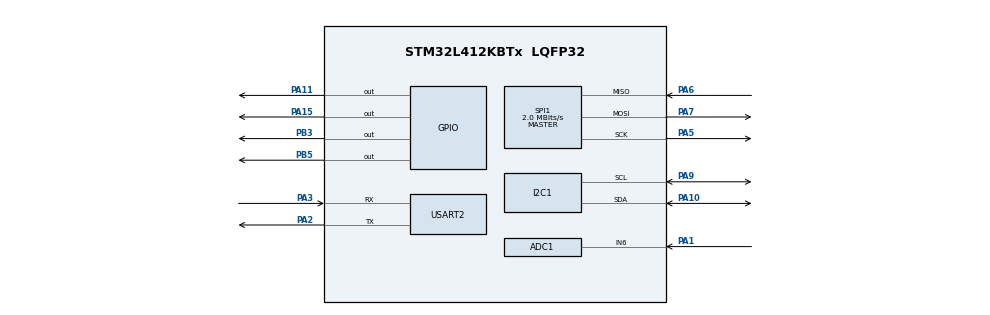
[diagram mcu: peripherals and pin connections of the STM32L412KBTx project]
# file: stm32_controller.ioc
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ADC1.Channel-1\#ChannelRegularConversion=ADC_CHANNEL_6
ADC1.NbrOfConversionFlag=1
ADC1.OffsetNumber-1\#ChannelRegularConversion=ADC_OFFSET_NONE
ADC1.Rank-1\#ChannelRegularConversion=1
ADC1.SamplingTime-1\#ChannelRegularConversion=ADC_SAMPLETIME_2CYCLES_5
ADC1.master=1
Mcu.Family=STM32L4
Mcu.Name=STM32L412KBTx
Mcu.Package=LQFP32
NVIC.PriorityGroup=NVIC_PRIORITYGROUP_4
PA1.Signal=ADCx_IN6
PA10.Mode=I2C
PA10.Signal=I2C1_SDA
PA11.GPIO_PuPd=GPIO_PULLUP
PA11.Signal=GPIO_Output
PA13\ (JTMS/SWDIO).Mode=Serial_Wire
PA13\ (JTMS/SWDIO).Signal=SYS_JTMS-SWDIO
PA14\ (JTCK/SWCLK).Mode=Serial_Wire
PA14\ (JTCK/SWCLK).Signal=SYS_JTCK-SWCLK
PA15\ (JTDI).GPIO_PuPd=GPIO_PULLUP
PA15\ (JTDI).Signal=GPIO_Output
PA2.Mode=Asynchronous
PA2.Signal=USART2_TX
PA3.Mode=Asynchronous
PA3.Signal=USART2_RX
PA5.Mode=Full_Duplex_Master
PA5.Signal=SPI1_SCK
PA6.Mode=Full_Duplex_Master
PA6.Signal=SPI1_MISO
PA7.Mode=Full_Duplex_Master
PA7.Signal=SPI1_MOSI
PA9.Mode=I2C
PA9.Signal=I2C1_SCL
PB3\ (JTDO/TRACESWO).GPIO_PuPd=GPIO_PULLUP
PB3\ (JTDO/TRACESWO).Signal=GPIO_Output
PB5.GPIO_PuPd=GPIO_PULLUP
PB5.Signal=GPIO_Output
ProjectManager.HeapSize=0x200
ProjectManager.StackSize=0x400
ProjectManager.TargetToolchain=STM32CubeIDE
RCC.ADCFreq_Value=4000000
RCC.HSE_VALUE=8000000
RCC.HSI48_VALUE=48000000
RCC.HSI_VALUE=16000000
RCC.LSE_VALUE=32768
RCC.MSI_VALUE=4000000
RCC.USBFreq_Value=4000000
RCC.VCOOutputFreq_Value=32000000
SH.ADCx_IN6.0=ADC1_IN6,IN6-Single-Ended
SPI1.CalculateBaudRate=2.0 MBits/s
SPI1.Direction=SPI_DIRECTION_2LINES
SPI1.Mode=SPI_MODE_MASTER
SPI1.VirtualType=VM_MASTER
USART2.VirtualMode-Asynchronous=VM_ASYNC
board=custom

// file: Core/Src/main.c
/* USER CODE BEGIN Header */
/**
  ******************************************************************************
  * @file           : main.c
  * @brief          : Main program body
  ******************************************************************************
  * @attention
  *
  * Copyright (c) 2023 STMicroelectronics.
  * All rights reserved.
  *
  * This software is licensed under terms that can be found in the LICENSE file
  * in the root directory of this software component.
  * If no LICENSE file comes with this software, it is provided AS-IS.
  *
  ******************************************************************************
  */
/* USER CODE END Header */
#include "main.h"

/* USER CODE BEGIN Includes */
#include "functions.h"
#include "NRF24.h"
/* USER CODE END Includes */

ADC_HandleTypeDef hadc1;

I2C_HandleTypeDef hi2c1;

SPI_HandleTypeDef hspi1;

UART_HandleTypeDef huart2;

/* USER CODE BEGIN PV */
uint8_t LED_Buf[2];
uint8_t LED_ADDRESS = (LED_DEVICE<<1) + 0x80;
/* USER CODE END PV */

void SystemClock_Config(void);
static void MX_GPIO_Init(void);
static void MX_SPI1_Init(void);
static void MX_ADC1_Init(void);
static void MX_I2C1_Init(void);
static void MX_USART2_UART_Init(void);

int main(void)
{

  /* MCU Configuration--------------------------------------------------------*/

  /* Reset of all peripherals, Initializes the Flash interface and the Systick. */
  HAL_Init();

  /* Configure the system clock */
  SystemClock_Config();

  /* Initialize all configured peripherals */
  MX_GPIO_Init();
  MX_SPI1_Init();
  MX_ADC1_Init();
  MX_I2C1_Init();
  MX_USART2_UART_Init();
  /* USER CODE BEGIN 2 */
  //GPIO related variables
    uint16_t B_Pin = 3;
    uint16_t Y_Pin = 1;
    uint16_t Select_Pin = 4;
    uint16_t Start_Pin = 4;
    uint16_t Cross_Up_Pin = 0;
    uint16_t Cross_Down_Pin = 1;
    uint16_t Cross_Left_Pin = 2;
    uint16_t Cross_Right_Pin = 3;
    uint16_t A_Pin = 2;
    uint16_t X_Pin = 0;
    uint16_t L_Pin = 5;
    uint16_t R_Pin = 5;

    uint16_t CE_Pin = 11;
    uint8_t Power_Check_Pin = 4;

    //Button data buffer
    uint8_t Button_Data[2] = {0, 0};

    //Battery related variables
    uint16_t Battery_Raw = 0;
    float Battery_Temp = 0;
    uint8_t i = 0;

    LED_Buf[1] = LED_ENABLE;
    uint8_t GPIOE_ADDRESS_1 = 0b01000001;
    uint8_t GPIOE_ADDRESS_2 = 0b01000011;
    uint8_t GPIO_Data_2 = 0;

    //LED driver Initialization
    LED_Init();

    //Battery saving variables
    uint8_t Eco_const = 1000;
    uint8_t Eco_var = 0;

    //NRF24 Initialization
    uint64_t TxpipeAddrs = 0x11223344AA;

    NRF24_begin(hspi1);
	NRF24_stopListening();
	NRF24_openWritingPipe(TxpipeAddrs);
	NRF24_setAutoAck(true);
	NRF24_setChannel(52);
	NRF24_setPayloadSize(32);

	NRF24_enableDynamicPayloads();
	NRF24_enableAckPayload();

  /* USER CODE END 2 */

  /* Infinite loop */
  /* USER CODE BEGIN WHILE */
  while (1)
  {
	  if(Eco_var == 0){
	  		  //Retrieving battery info
	  		  HAL_ADC_Start(&hadc1);
	  		  HAL_ADC_PollForConversion(&hadc1, HAL_MAX_DELAY);
	  		  Battery_Raw = HAL_ADC_GetValue(&hadc1);
	  		  //Powering the LEDs accordingly
	  		  Battery_Temp = (int)( ( (float)(Battery_Raw)/4096*3.3 - 1.8 )*48 );
	  	  	  for(i=1; i<=12; i++){
	  		  	  if (i < Battery_Temp){
	  			  	  LED_Write(i+4,1);
	  		  	  }
	  		  	  else{
	  			  	  LED_Write(i+4,0);
	  		  	  }
	  	  	  }
	  	  }

	  	  //Getting Button info
	  	HAL_I2C_Master_Receive(&hi2c1, GPIOE_ADDRESS_1, &Button_Data[0] , 1, HAL_MAX_DELAY);
	  	HAL_I2C_Master_Receive(&hi2c1, GPIOE_ADDRESS_2, &Button_Data[1], 1, HAL_MAX_DELAY);

	  	//Wireless transmission
	  	NRF24_write(&Button_Data, 2);

	  	Eco_var = (Eco_var + 1) % Eco_const;

    /* USER CODE END WHILE */

  }
}

void SystemClock_Config(void)
{
  RCC_OscInitTypeDef RCC_OscInitStruct = {0};
  RCC_ClkInitTypeDef RCC_ClkInitStruct = {0};

  /** Configure the main internal regulator output voltage
  */
  if (HAL_PWREx_ControlVoltageScaling(PWR_REGULATOR_VOLTAGE_SCALE1) != HAL_OK)
  {
    Error_Handler();
  }

  /** Initializes the RCC Oscillators according to the specified parameters
  * in the RCC_OscInitTypeDef structure.
  */
  RCC_OscInitStruct.OscillatorType = RCC_OSCILLATORTYPE_MSI;
  RCC_OscInitStruct.MSIState = RCC_MSI_ON;
  RCC_OscInitStruct.MSICalibrationValue = 0;
  RCC_OscInitStruct.MSIClockRange = RCC_MSIRANGE_6;
  RCC_OscInitStruct.PLL.PLLState = RCC_PLL_NONE;
  if (HAL_RCC_OscConfig(&RCC_OscInitStruct) != HAL_OK)
  {
    Error_Handler();
  }

  /** Initializes the CPU, AHB and APB buses clocks
  */
  RCC_ClkInitStruct.ClockType = RCC_CLOCKTYPE_HCLK|RCC_CLOCKTYPE_SYSCLK
                              |RCC_CLOCKTYPE_PCLK1|RCC_CLOCKTYPE_PCLK2;
  RCC_ClkInitStruct.SYSCLKSource = RCC_SYSCLKSOURCE_MSI;
  RCC_ClkInitStruct.AHBCLKDivider = RCC_SYSCLK_DIV1;
  RCC_ClkInitStruct.APB1CLKDivider = RCC_HCLK_DIV1;
  RCC_ClkInitStruct.APB2CLKDivider = RCC_HCLK_DIV1;

  if (HAL_RCC_ClockConfig(&RCC_ClkInitStruct, FLASH_LATENCY_0) != HAL_OK)
  {
    Error_Handler();
  }
}

static void MX_ADC1_Init(void)
{

  ADC_MultiModeTypeDef multimode = {0};
  ADC_ChannelConfTypeDef sConfig = {0};

  /** Common config
  */
  hadc1.Instance = ADC1;
  hadc1.Init.ClockPrescaler = ADC_CLOCK_ASYNC_DIV1;
  hadc1.Init.Resolution = ADC_RESOLUTION_12B;
  hadc1.Init.DataAlign = ADC_DATAALIGN_RIGHT;
  hadc1.Init.ScanConvMode = ADC_SCAN_DISABLE;
  hadc1.Init.EOCSelection = ADC_EOC_SINGLE_CONV;
  hadc1.Init.LowPowerAutoWait = DISABLE;
  hadc1.Init.ContinuousConvMode = DISABLE;
  hadc1.Init.NbrOfConversion = 1;
  hadc1.Init.DiscontinuousConvMode = DISABLE;
  hadc1.Init.ExternalTrigConv = ADC_SOFTWARE_START;
  hadc1.Init.ExternalTrigConvEdge = ADC_EXTERNALTRIGCONVEDGE_NONE;
  hadc1.Init.DMAContinuousRequests = DISABLE;
  hadc1.Init.Overrun = ADC_OVR_DATA_PRESERVED;
  hadc1.Init.OversamplingMode = DISABLE;
  if (HAL_ADC_Init(&hadc1) != HAL_OK)
  {
    Error_Handler();
  }

  /** Configure the ADC multi-mode
  */
  multimode.Mode = ADC_MODE_INDEPENDENT;
  if (HAL_ADCEx_MultiModeConfigChannel(&hadc1, &multimode) != HAL_OK)
  {
    Error_Handler();
  }

  /** Configure Regular Channel
  */
  sConfig.Channel = ADC_CHANNEL_6;
  sConfig.Rank = ADC_REGULAR_RANK_1;
  sConfig.SamplingTime = ADC_SAMPLETIME_2CYCLES_5;
  sConfig.SingleDiff = ADC_SINGLE_ENDED;
  sConfig.OffsetNumber = ADC_OFFSET_NONE;
  sConfig.Offset = 0;
  if (HAL_ADC_ConfigChannel(&hadc1, &sConfig) != HAL_OK)
  {
    Error_Handler();
  }

}

static void MX_I2C1_Init(void)
{

  hi2c1.Instance = I2C1;
  hi2c1.Init.Timing = 0x00000E14;
  hi2c1.Init.OwnAddress1 = 0;
  hi2c1.Init.AddressingMode = I2C_ADDRESSINGMODE_7BIT;
  hi2c1.Init.DualAddressMode = I2C_DUALADDRESS_DISABLE;
  hi2c1.Init.OwnAddress2 = 0;
  hi2c1.Init.OwnAddress2Masks = I2C_OA2_NOMASK;
  hi2c1.Init.GeneralCallMode = I2C_GENERALCALL_DISABLE;
  hi2c1.Init.NoStretchMode = I2C_NOSTRETCH_DISABLE;
  if (HAL_I2C_Init(&hi2c1) != HAL_OK)
  {
    Error_Handler();
  }

  /** Configure Analogue filter
  */
  if (HAL_I2CEx_ConfigAnalogFilter(&hi2c1, I2C_ANALOGFILTER_ENABLE) != HAL_OK)
  {
    Error_Handler();
  }

  /** Configure Digital filter
  */
  if (HAL_I2CEx_ConfigDigitalFilter(&hi2c1, 0) != HAL_OK)
  {
    Error_Handler();
  }

}

static void MX_SPI1_Init(void)
{

  /* SPI1 parameter configuration*/
  hspi1.Instance = SPI1;
  hspi1.Init.Mode = SPI_MODE_MASTER;
  hspi1.Init.Direction = SPI_DIRECTION_2LINES;
  hspi1.Init.DataSize = SPI_DATASIZE_4BIT;
  hspi1.Init.CLKPolarity = SPI_POLARITY_LOW;
  hspi1.Init.CLKPhase = SPI_PHASE_1EDGE;
  hspi1.Init.NSS = SPI_NSS_SOFT;
  hspi1.Init.BaudRatePrescaler = SPI_BAUDRATEPRESCALER_2;
  hspi1.Init.FirstBit = SPI_FIRSTBIT_MSB;
  hspi1.Init.TIMode = SPI_TIMODE_DISABLE;
  hspi1.Init.CRCCalculation = SPI_CRCCALCULATION_DISABLE;
  hspi1.Init.CRCPolynomial = 7;
  hspi1.Init.CRCLength = SPI_CRC_LENGTH_DATASIZE;
  hspi1.Init.NSSPMode = SPI_NSS_PULSE_ENABLE;
  if (HAL_SPI_Init(&hspi1) != HAL_OK)
  {
    Error_Handler();
  }

}

static void MX_USART2_UART_Init(void)
{

  huart2.Instance = USART2;
  huart2.Init.BaudRate = 115200;
  huart2.Init.WordLength = UART_WORDLENGTH_8B;
  huart2.Init.StopBits = UART_STOPBITS_1;
  huart2.Init.Parity = UART_PARITY_NONE;
  huart2.Init.Mode = UART_MODE_TX_RX;
  huart2.Init.HwFlowCtl = UART_HWCONTROL_NONE;
  huart2.Init.OverSampling = UART_OVERSAMPLING_16;
  huart2.Init.OneBitSampling = UART_ONE_BIT_SAMPLE_DISABLE;
  huart2.AdvancedInit.AdvFeatureInit = UART_ADVFEATURE_NO_INIT;
  if (HAL_UART_Init(&huart2) != HAL_OK)
  {
    Error_Handler();
  }

}

static void MX_GPIO_Init(void)
{
  GPIO_InitTypeDef GPIO_InitStruct = {0};

  /* GPIO Ports Clock Enable */
  __HAL_RCC_GPIOA_CLK_ENABLE();
  __HAL_RCC_GPIOB_CLK_ENABLE();

  /*Configure GPIO pin Output Level */
  HAL_GPIO_WritePin(GPIOA, GPIO_PIN_11|GPIO_PIN_15, GPIO_PIN_RESET);

  /*Configure GPIO pin Output Level */
  HAL_GPIO_WritePin(GPIOB, GPIO_PIN_3|GPIO_PIN_5, GPIO_PIN_RESET);

  /*Configure GPIO pins : PA11 PA15 */
  GPIO_InitStruct.Pin = GPIO_PIN_11|GPIO_PIN_15;
  GPIO_InitStruct.Mode = GPIO_MODE_OUTPUT_PP;
  GPIO_InitStruct.Pull = GPIO_PULLUP;
  GPIO_InitStruct.Speed = GPIO_SPEED_FREQ_LOW;
  HAL_GPIO_Init(GPIOA, &GPIO_InitStruct);

  /*Configure GPIO pins : PB3 PB5 */
  GPIO_InitStruct.Pin = GPIO_PIN_3|GPIO_PIN_5;
  GPIO_InitStruct.Mode = GPIO_MODE_OUTPUT_PP;
  GPIO_InitStruct.Pull = GPIO_PULLUP;
  GPIO_InitStruct.Speed = GPIO_SPEED_FREQ_LOW;
  HAL_GPIO_Init(GPIOB, &GPIO_InitStruct);

}

void Error_Handler(void)
{
  __disable_irq();
  while (1)
  {
  }
}
